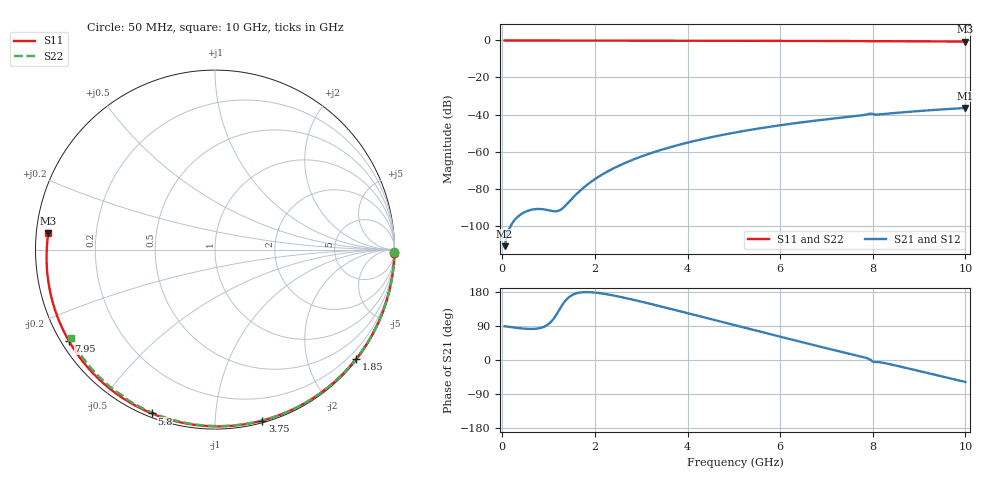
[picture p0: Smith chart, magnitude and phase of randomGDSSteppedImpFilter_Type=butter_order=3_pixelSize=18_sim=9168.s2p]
! freq	dB(S11)	phase(S11)	dB(S12)	phase(S12)
!  dB(S21)	phase(S21)	dB(S22)	phase(S22)
!S-par simulation data
#  GHz  S  DB  R 50
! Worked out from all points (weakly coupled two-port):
!   200 points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, 50 MHz to 10 GHz, reference 50 ohm
!   highest |S21| = -36.47 dB at 10 GHz (marker M1); lowest = -111.1 dB at 50 MHz (marker M2)
!   lowest |S11| = -0.6 dB at 10 GHz (marker M3), VSWR 29.00, Z = 1.73 + j2.42 ohm
!   |S11| at or under -10 dB: nowhere
!   |S22| runs from -0.5 to 0.0 dB; largest |S21 - S12| = 0
!   S11 on the Smith chart (normalised r, x): 50 MHz: open; 1.85 GHz: 0.03, -2.91; 3.75 GHz: 0.02, -1.31; 5.8 GHz: 0.02, -0.69; 7.95 GHz: 0.02, -0.29; 10 GHz: 0.03, +0.05
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0.05  -0.00 -1.1  -111.09 89.1  -111.09 89.1  -0.00 -0.9
0.45  -0.01 -9.4  -93.15 83.0  -93.15 83.0  -0.01 -7.7
0.85  -0.02 -17.6  -91.07 85.5  -91.07 85.5  -0.02 -14.6
1.25  -0.03 -25.8  -91.57 136.4  -91.57 136.4  -0.03 -21.4
1.7  -0.04 -34.9  -80.68 178.4  -80.68 178.4  -0.04 -28.9
1.75  -0.05 -35.9  -79.59 179.0  -79.59 179.0  -0.04 -29.7
1.85  -0.05 -37.9  -77.58 179.2  -77.58 179.2  -0.04 -31.4
2.15  -0.06 -43.9  -72.52 175.6  -72.52 175.6  -0.05 -36.4
2.5  -0.07 -50.8  -67.88 167.8  -67.88 167.8  -0.05 -42.1
2.9  -0.08 -58.5  -63.62 156.9  -63.62 156.9  -0.06 -48.5
3.4  -0.09 -68.0  -59.33 142.1  -59.33 142.1  -0.07 -56.4
3.75  -0.10 -74.5  -56.80 131.4  -56.80 131.4  -0.08 -61.9
4.4  -0.12 -86.4  -52.85 111.3  -52.85 111.3  -0.10 -71.8
5.05  -0.15 -98.0  -49.61 91.0  -49.61 91.0  -0.12 -81.4
5.8  -0.19 -111.1  -46.52 67.7  -46.52 67.7  -0.16 -92.2
6.7  -0.25 -126.6  -43.48 40.1  -43.48 40.1  -0.20 -104.7
7.7  -0.33 -143.7  -40.62 10.3  -40.62 10.3  -0.27 -118.3
7.95  -0.35 -148.0  -39.49 0.3  -39.49 0.3  -0.31 -121.7
8.1  -0.37 -150.7  -40.04 -5.3  -40.04 -5.3  -0.32 -123.4
8.35  -0.40 -155.0  -39.46 -10.6  -39.46 -10.6  -0.33 -126.8
9.2  -0.49 -170.3  -37.75 -34.8  -37.75 -34.8  -0.41 -137.9
10  -0.60 174.4  -36.47 -58.0  -36.47 -58.0  -0.50 -148.4
